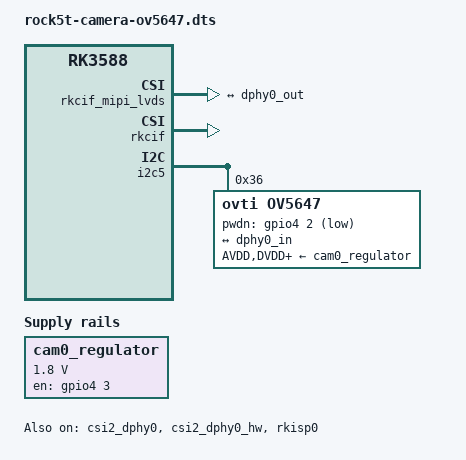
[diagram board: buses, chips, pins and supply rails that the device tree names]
/*
 * Device Tree Overlay: OV5647 (RPi Camera v1) on Rock 5T CAM0
 *
 * OmniVision OV5647 5MP camera module connected to the 31-pin FPC CAM0
 * connector via 2-lane MIPI CSI-2.
 *
 * Wiring (CAM0 FPC connector):
 *   - Power enable: GPIO4_A3 (active high)
 *   - Power down:   GPIO4_A2 (active low — directly drives PWDN pin)
 *   - I2C:          I2C5 (on-board, dedicated to CAM0)
 *   - MIPI CSI-2:   csi2_dphy0 (2 data lanes)
 *
 * IMPORTANT: Adjust GPIO pins and I2C bus for your specific board
 * revision. The pins below match the Rock 5T V1.1 schematic.
 *
 * To compile:
 *   dtc -@ -I dts -O dtb -o rock5t-camera-ov5647.dtbo rock5t-camera-ov5647.dts
 */

/dts-v1/;
/plugin/;

/ {
	compatible = "radxa,rock-5t", "rockchip,rk3588";

	fragment@0 {
		target-path = "/";
		__overlay__ {
			cam0_regulator: cam0-regulator {
				compatible = "regulator-fixed";
				regulator-name = "cam0_supply";
				regulator-min-microvolt = <1800000>;
				regulator-max-microvolt = <1800000>;
				gpio = <&gpio4 3 0>; /* GPIO4_A3, active high */
				enable-active-high;
				regulator-always-on;
			};
		};
	};

	/* Enable MIPI D-PHY for CAM0 */
	fragment@1 {
		target = <&csi2_dphy0>;
		__overlay__ {
			status = "okay";

			ports {
				#address-cells = <1>;
				#size-cells = <0>;

				/* Input from sensor */
				port@0 {
					reg = <0>;
					dphy0_in: endpoint {
						remote-endpoint = <&ov5647_out>;
						data-lanes = <1 2>;
					};
				};

				/* Output to CIF */
				port@1 {
					reg = <1>;
					dphy0_out: endpoint {
						remote-endpoint = <&cif_mipi0_in>;
					};
				};
			};
		};
	};

	/* Enable D-PHY hardware block */
	fragment@2 {
		target = <&csi2_dphy0_hw>;
		__overlay__ {
			status = "okay";
		};
	};

	/* Enable CIF MIPI receiver */
	fragment@3 {
		target = <&rkcif_mipi_lvds>;
		__overlay__ {
			status = "okay";

			port {
				cif_mipi0_in: endpoint {
					remote-endpoint = <&dphy0_out>;
				};
			};
		};
	};

	/* Enable CIF controller */
	fragment@4 {
		target = <&rkcif>;
		__overlay__ {
			status = "okay";
		};
	};

	/* Enable ISP0 for image processing */
	fragment@5 {
		target = <&rkisp0>;
		__overlay__ {
			status = "okay";
		};
	};

	/* OV5647 sensor on I2C5 */
	fragment@6 {
		target = <&i2c5>;
		__overlay__ {
			status = "okay";
			#address-cells = <1>;
			#size-cells = <0>;

			ov5647: ov5647@36 {
				compatible = "ovti,ov5647";
				reg = <0x36>;
				clocks = <&cam0_clk>;
				clock-names = "xclk";

				pwdn-gpios = <&gpio4 2 1>; /* GPIO4_A2, active low */
				AVDD-supply = <&cam0_regulator>;
				DVDD-supply = <&cam0_regulator>;
				DOVDD-supply = <&cam0_regulator>;

				port {
					ov5647_out: endpoint {
						remote-endpoint = <&dphy0_in>;
						data-lanes = <1 2>;
						clock-lanes = <0>;
						clock-noncontinuous;
						link-frequencies = /bits/ 64 <297000000>;
					};
				};
			};
		};
	};

	/* 25 MHz reference clock for the sensor */
	fragment@7 {
		target-path = "/";
		__overlay__ {
			cam0_clk: cam0-clk {
				compatible = "fixed-clock";
				#clock-cells = <0>;
				clock-frequency = <25000000>;
				clock-output-names = "cam0_xclk";
			};
		};
	};
};
